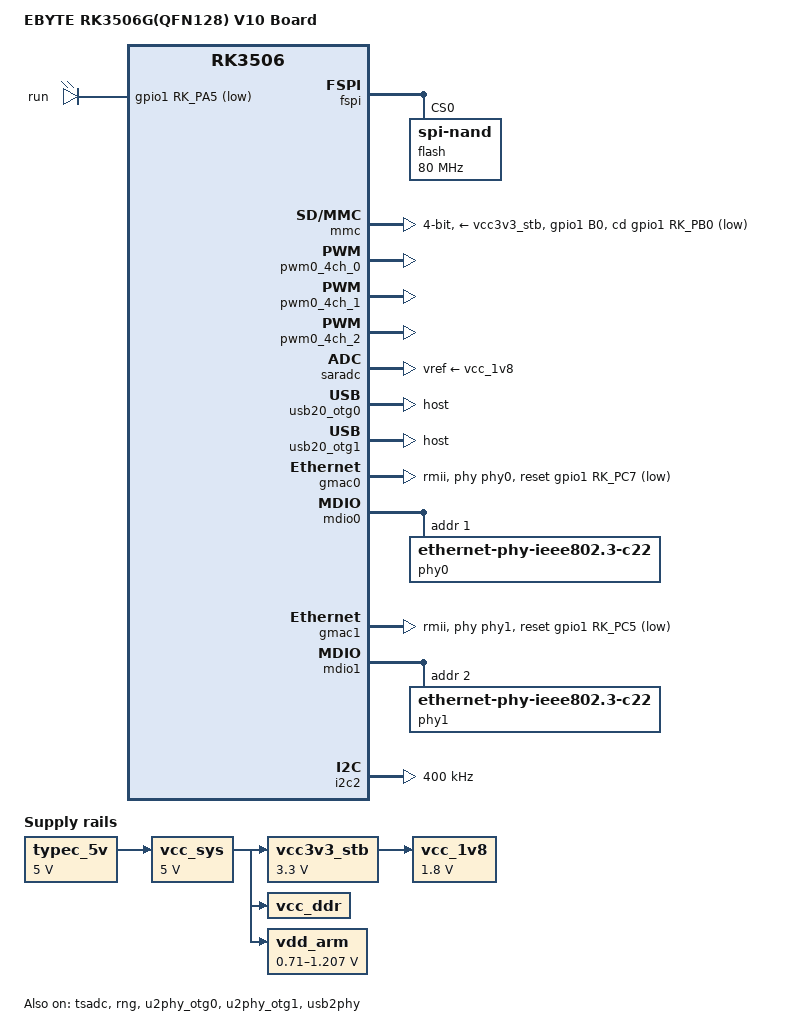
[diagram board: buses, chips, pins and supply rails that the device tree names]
// SPDX-License-Identifier: (GPL-2.0+ OR MIT)
/*
 * Copyright (c) 2024 Rockchip Electronics Co., Ltd.
 */

/dts-v1/;

#include "rk3506.dtsi"

#include <dt-bindings/display/drm_mipi_dsi.h>
#include <dt-bindings/input/rk-input.h>
#include <dt-bindings/phy/jlsemi-dt-phy.h>

/ {
	model = "EBYTE RK3506G(QFN128) V10 Board";
	compatible = "ebyte,rk3506g-v10", "rockchip,rk3506";

	chosen {
		bootargs = "earlycon=uart8250,mmio32,0xff0a0000 console=ttyFIQ0 snd_aloop.index=7 snd_aloop.use_raw_jiffies=1 storagemedia=mtd ubi.mtd=5 ubi.block=0,rootfs root=/dev/ubiblock0_0 rootfstype=squashfs rootwait androidboot.storagemedia=mtd androidboot.mode=normal";
	};

	fiq_debugger: fiq-debugger {
		compatible = "rockchip,fiq-debugger";
		rockchip,serial-id = <0>;
		rockchip,wake-irq = <0>;
		rockchip,irq-mode-enable = <1>;
		rockchip,baudrate = <1500000>;	/* Only 115200 and 1500000 */
		interrupts = <GIC_SPI 115 IRQ_TYPE_LEVEL_HIGH>;
	};

	typec_5v: vcc12v-dc {
		compatible = "regulator-fixed";
		regulator-name = "typec_5v";
		regulator-always-on;
		regulator-boot-on;
		regulator-min-microvolt = <5000000>;
		regulator-max-microvolt = <5000000>;
	};

	vcc_sys: vcc-sys {
		compatible = "regulator-fixed";
		regulator-name = "vcc_sys";
		regulator-always-on;
		regulator-boot-on;
		regulator-min-microvolt = <5000000>;
		regulator-max-microvolt = <5000000>;
		vin-supply = <&typec_5v>;
	};

	vcc3v3_stb: vcc3v3-stb {
		compatible = "regulator-fixed";
		regulator-name = "vcc3v3_stb";
		regulator-always-on;
		regulator-boot-on;
		regulator-min-microvolt = <3300000>;
		regulator-max-microvolt = <3300000>;
		vin-supply = <&vcc_sys>;
	};

	vcc_1v8: vcc-1v8 {
		compatible = "regulator-fixed";
		regulator-name = "vcc_1v8";
		regulator-always-on;
		regulator-boot-on;
		regulator-min-microvolt = <1800000>;
		regulator-max-microvolt = <1800000>;
		vin-supply = <&vcc3v3_stb>;
	};

	vcc_ddr: vcc-ddr {
		compatible = "regulator-fixed";
		regulator-name = "vcc_ddr";
		regulator-always-on;
		regulator-boot-on;
		vin-supply = <&vcc_sys>;
	};

	vdd_arm: vdd-arm {
		compatible = "pwm-regulator";
		pwms = <&pwm0_4ch_0 0 5000 1>;
		regulator-name = "vdd_arm";
		regulator-min-microvolt = <710000>;
		regulator-max-microvolt = <1207000>;
		regulator-init-microvolt = <1011000>;
		regulator-always-on;
		regulator-boot-on;
		regulator-settling-time-up-us = <250>;
		pwm-supply = <&vcc_sys>;
	};

    leds {
        compatible = "gpio-leds";
        status = "okay";

        heartbeat {
            label = "run";
            gpios = <&gpio1 RK_PA5 GPIO_ACTIVE_LOW>;
            linux,default-trigger = "heartbeat";
            default-state = "on";
        };
    };

	// adc_keys: adc-keys {
	// 	compatible = "adc-keys";
	// 	io-channels = <&saradc 1>;
	// 	io-channel-names = "buttons";
	// 	keyup-threshold-microvolt = <1800000>;
	// 	poll-interval = <100>;
	// 	menu-key {
	// 		label = "menu";
	// 		linux,code = <KEY_MENU>;
	// 		press-threshold-microvolt = <800000>;
	// 	};
	// };

	acodec_sound: acodec-sound {
		status = "disabled";
		compatible = "simple-audio-card";
		simple-audio-card,name = "rockchip,acodec";
		simple-audio-card,format = "i2s";
		simple-audio-card,mclk-fs = <1024>;
		simple-audio-card,bitclock-master = <&codec_master>;
		simple-audio-card,frame-master = <&codec_master>;
		simple-audio-card,cpu {
			sound-dai = <&sai4>;
		};
		codec_master: simple-audio-card,codec {
			sound-dai = <&audio_codec>;
		};
	};

	backlight: backlight {
		compatible = "pwm-backlight";
		pwms = <&pwm0_4ch_1 0 25000 0>;
		brightness-levels = <
			  0  20  20  21  21  22  22  23
			 23  24  24  25  25  26  26  27
			 27  28  28  29  29  30  30  31
			 31  32  32  33  33  34  34  35
			 35  36  36  37  37  38  38  39
			 40  41  42  43  44  45  46  47
			 48  49  50  51  52  53  54  55
			 56  57  58  59  60  61  62  63
			 64  65  66  67  68  69  70  71
			 72  73  74  75  76  77  78  79
			 80  81  82  83  84  85  86  87
			 88  89  90  91  92  93  94  95
			 96  97  98  99 100 101 102 103
			104 105 106 107 108 109 110 111
			112 113 114 115 116 117 118 119
			120 121 122 123 124 125 126 127
			128 129 130 131 132 133 134 135
			136 137 138 139 140 141 142 143
			144 145 146 147 148 149 150 151
			152 153 154 155 156 157 158 159
			160 161 162 163 164 165 166 167
			168 169 170 171 172 173 174 175
			176 177 178 179 180 181 182 183
			184 185 186 187 188 189 190 191
			192 193 194 195 196 197 198 199
			200 201 202 203 204 205 206 207
			208 209 210 211 212 213 214 215
			216 217 218 219 220 221 222 223
			224 225 226 227 228 229 230 231
			232 233 234 235 236 237 238 239
			240 241 242 243 244 245 246 247
			248 249 250 251 252 253 254 255
		>;
		default-brightness-level = <200>;
		power-supply = <&vcc3v3_stb>;
		status = "disabled";
	};
};

&tsadc {
	status = "okay";
};

&cma {
	size = <0x400000>;
};

&cpu0 {
	cpu-supply = <&vdd_arm>;
};

&fspi {
	status = "okay";
	flash@0 {
		compatible = "spi-nand";
		reg = <0>;
		spi-max-frequency = <80000000>;
		spi-rx-bus-width = <4>;
		spi-tx-bus-width = <1>;
	};
};

&sai4 {
	status = "disabled";
};

&audio_codec {
	status = "disabled";
};

&mmc {
	status = "okay";
	bus-width = <4>;

	pinctrl-names = "default";
	pinctrl-0 = <&sdmmc_clk_pins &sdmmc_cmd_pins
				&sdmmc_bus4_pins &sdmmc_cd_pins>;
	cd-gpios = <&gpio1 RK_PB0 GPIO_ACTIVE_LOW>;

    no-mmc;
	no-sdio;
    disable-wp;
	cap-sd-highspeed;
	keep-power-in-suspend;
    vmmc-supply = <&vcc3v3_stb>;
	// sd-uhs-sdr104;
    // vqmmc-supply = <&vccio_sd>;
};

&pwm0_4ch_0 {
	pinctrl-names = "active";
	pinctrl-0 = <&rm_io21_pwm0_ch0>;
	status = "okay";
};

&pwm0_4ch_1 {
	pinctrl-names = "active";
	pinctrl-0 = <&rm_io6_pwm0_ch1>;
	status = "okay";
};

&pwm0_4ch_2 {
	pinctrl-names = "active";
	pinctrl-0 = <&rm_io2_pwm0_ch2>;
	status = "okay";
};

&rga2 {
	status = "disabled";
};

&rng {
	status = "okay";
};

&rockchip_suspend {
	rockchip,sleep-mode-config = <
		(0
		| RKPM_ARMOFF_DDRPD
		| RKPM_24M_OSC_DIS
		| RKPM_32K_CLK
		| RKPM_32K_SRC_RC
		| RKPM_PWM0_CH0_REGULATOR
		)
	>;

	rockchip,apios-suspend = <
		(0
		| RKPM_PWREN_CORE_GPIO0A2 | RKPM_PWREN_CORE_ACT_LOW
		| RKPM_PWREN_SLEEP_GPIO0A0 | RKPM_PWREN_SLEEP_ACT_LOW
		)
	>;

#define GPIO0_IOC_GPIO0A_PULL_REG	0xff950200
#define GPIO0_IOC_GPIO0B_PULL_REG	0xff950204
#define GPIO0_IOC_GPIO0C_PULL_REG	0xff950208
#define GPIO0A3_PULL_DOWN		0x00c00080
#define GPIO0B0_PULL_DOWN		0x00030002
#define GPIO0C5_PULL_DOWN		0x0c000800

	/* Note: support max 16 pairs */
	rockchip,sleep-io-config = <
		GPIO0_IOC_GPIO0C_PULL_REG GPIO0C5_PULL_DOWN /* PWM0_CH0_CPU */
		GPIO0_IOC_GPIO0A_PULL_REG GPIO0A3_PULL_DOWN /* PWM0_CH2_LCD_BL */
		GPIO0_IOC_GPIO0B_PULL_REG GPIO0B0_PULL_DOWN /* SAI1_MCLK */
	>;
};

&saradc {
	vref-supply = <&vcc_1v8>;
	status = "okay";
};

&u2phy_otg0 {
	status = "okay";
};

&u2phy_otg1 {
	status = "okay";
};

&usb2phy {
	// extcon = <&extcon_usb>;
	status = "okay";
};

&usb20_otg0 {
	dr_mode = "host";
	status = "okay";
};

&usb20_otg1 {
	dr_mode = "host";
	status = "okay";
};

&gmac0 {
	phy-mode = "rmii";
	clock_in_out = "output";

	snps,reset-gpio = <&gpio1 RK_PC7 GPIO_ACTIVE_LOW>;
	snps,reset-active-low;
	snps,reset-delays-us = <0 20000 100000>;

	pinctrl-names = "default";
	pinctrl-0 = <&eth_rmii0_miim_pins &eth_rmii0_tx_bus2_pins
				&eth_rmii0_rx_bus2_pins &eth_rmii0_clk_pins>;

	phy-handle = <&phy0>;
	status = "okay";
};

&mdio0 {
	phy0: phy@1 {
		compatible = "ethernet-phy-ieee802.3-c22";
		reg = <0x1>;
		jl1xxx,led-enable = <(JL1XXX_LED_STATIC_OP_EN | JL1XXX_LED_MODE_EN)>;
		jl1xxx,led-mode = <(JL1XXX_LED0_100_LINK | JL1XXX_LED0_10_LINK | \
				JL1XXX_LED1_100_ACTIVITY | JL1XXX_LED1_10_ACTIVITY)>;
	};
};

&gmac1 {
	phy-mode = "rmii";
	clock_in_out = "output";

	snps,reset-gpio = <&gpio1 RK_PC5 GPIO_ACTIVE_LOW>;
	snps,reset-active-low;
	snps,reset-delays-us = <0 20000 100000>;

	pinctrl-names = "default";
	pinctrl-0 = <&eth_rmii1_miim_pins &eth_rmii1_tx_bus2_pins
				&eth_rmii1_rx_bus2_pins &eth_rmii1_clk_pins>;

	phy-handle = <&phy1>;
	status = "okay";
};

&mdio1 {
	phy1: phy@1 {
		compatible = "ethernet-phy-ieee802.3-c22";
		reg = <0x2>;
		jl1xxx,led-enable = <(JL1XXX_LED_STATIC_OP_EN | JL1XXX_LED_MODE_EN)>;
		jl1xxx,led-mode = <(JL1XXX_LED0_100_LINK | JL1XXX_LED0_10_LINK | \
				JL1XXX_LED1_100_ACTIVITY | JL1XXX_LED1_10_ACTIVITY)>;
	};
};

&display_subsystem {
	logo-memory-region = <&drm_logo>;
	status = "disabled";
};

&route_dsi {
	status = "disabled";
};

&vop {
	status = "disabled";
};

&dsi_in {
	status = "disabled";
};

&dsi_in_vop {
	status = "disabled";
};

&dsi_dphy {
	status = "disabled";
};

&dsi {
	status = "disabled";
	// rockchip,lane-rate = <850>;
    dsi_panel: panel@0 {
        status = "disabled";
        compatible = "simple-panel-dsi";
        reg = <0>;
        backlight = <&backlight>;

        pinctrl-names = "default";
        pinctrl-0 = <&lcd_rst_gpio>;
        reset-gpios = <&gpio1 RK_PA3 GPIO_ACTIVE_LOW>;

        enable-delay-ms = <35>;
        prepare-delay-ms = <6>;
        reset-delay-ms = <0>;
        init-delay-ms = <20>;
        unprepare-delay-ms = <0>;
        disable-delay-ms = <20>;

        dsi,flags = <(MIPI_DSI_MODE_VIDEO | MIPI_DSI_MODE_VIDEO_BURST | MIPI_DSI_MODE_LPM | MIPI_DSI_MODE_NO_EOT_PACKET)>;
        dsi,format = <MIPI_DSI_FMT_RGB888>;
        dsi,lanes  = <2>;

        panel-init-sequence = [
            39 00 04 B9 FF 83 94
            15 00 02 36 01
            39 00 07 BA 61 03 68 6B B2 C0
            39 00 0B B1 48 12 72 09 32 54 71 71 57 47
            39 00 07 B2 00 80 64 0C 0D 2F
            39 00 16 B4 73 74 73 74 73 74 01 0C 86 75 00 3F 73 74 73 74 73 74 01 0C 86
            39 00 03 B6 6E 6E
            39 00 22 D3 00 00 07 07 40 07 0C 00 08 10 08 00 08 54 15 0A 05 0A 02 15 06 05 06 47 44 0A 0A 4B 10 07 07 0C 40
            39 00 2D D5 1C 1C 1D 1D 00 01 02 03 04 05 06 07 08 09 0A 0B 24 25 18 18 26 27 18 18 18 18 18 18 18 18 18 18 18 18 18 18 18 18 20 21 18 18 18 18
            39 00 2D D6 1C 1C 1D 1D 07 06 05 04 03 02 01 00 0B 0A 09 08 21 20 18 18 27 26 18 18 18 18 18 18 18 18 18 18 18 18 18 18 18 18 25 24 18 18 18 18
            39 00 3B E0 00 0A 15 1B 1E 21 24 22 47 56 65 66 6E 82 88 8B 9A 9D 98 A8 B9 5D 5C 61 66 6A 6F 7F 7F 00 0A 15 1B 1E 21 24 22 47 56 65 65 6E 81 87 8B 98 9D 99 A8 BA 5D 5D 62 67 6B 72 7F 7F
            39 00 03 C0 1F 31
            15 00 02 CC 03
            15 00 02 D4 02
            15 00 02 BD 02
            39 00 0D D8 FF FF FF FF FF FF FF FF FF FF FF FF
            15 00 02 BD 00
            15 00 02 BD 01
            15 00 02 B1 00
            15 00 02 BD 00
            39 00 08 BF 40 81 50 00 1A FC 01
            15 00 02 C6 ED
            05 64 01 11
            05 78 01 29
        ];

        panel-exit-sequence = [
            05 78 01 28
            05 05 01 10
        ];

        disp_timings0: display-timings {
            native-mode = <&dsi_timing0>;
            dsi_timing0: timing0 {
                 clock-frequency = <59603040>;
                 hactive = <720>;
                 hsync-len = <6>;
                 hback-porch = <20>;
                 hfront-porch = <10>;

                 vactive = <1280>;
                 vsync-len = <4>;
                 vback-porch = <20>;
                 vfront-porch = <10>;

                 de-active = <0>;
                 vsync-active = <0>;
                 hsync-active = <0>;
                 pixelclk-active = <0>;
             };
        };

		ports {
			#address-cells = <1>;
			#size-cells = <0>;

			port@0 {
				reg = <0>;
				panel_in_dsi: endpoint {
					remote-endpoint = <&dsi_out_panel>;
				};
			};
		};
	};

	ports {
		#address-cells = <1>;
		#size-cells = <0>;

		port@1 {
			reg = <1>;
			dsi_out_panel: endpoint {
				remote-endpoint = <&panel_in_dsi>;
			};
		};
	};
};

&i2c2 {
	clock-frequency = <400000>;
	pinctrl-names = "default";
	pinctrl-0 = <&rm_io19_i2c2_scl &rm_io20_i2c2_sda>;
	status = "okay";

	gt911: gt911@5d {
		pinctrl-names = "default";
		pinctrl-0 = <&gt911_gpio>;
		compatible = "goodix,gt911";
		reg = <0x5d>;
		interrupt-parent = <&gpio1>;
		interrupts = <0 IRQ_TYPE_EDGE_FALLING>;
		irq-gpios = <&gpio1 RK_PA0 GPIO_ACTIVE_HIGH>;
		reset-gpios = <&gpio1 RK_PA2 GPIO_ACTIVE_HIGH>;
		// touchscreen-inverted-x;
		// touchscreen-inverted-y;
		status = "disabled";
	};
};

&pinctrl {
	tfcard {
		sdmmc_cd_pins: tf-cd-gpio {
			rockchip,pins = <1 RK_PB0 RK_FUNC_GPIO &pcfg_pull_none>;
		};
	};
	lcd {
		lcd_rst_gpio: lcd-reset-gpio {
			rockchip,pins = <1 RK_PA3 RK_FUNC_GPIO &pcfg_pull_none>;
		};
	};
	touch {
		gt911_gpio: touch-gpio {
			rockchip,pins = <1 RK_PA2 RK_FUNC_GPIO &pcfg_pull_up>,
				<1 RK_PA0 RK_FUNC_GPIO &pcfg_pull_none>;
		};
    };
};
